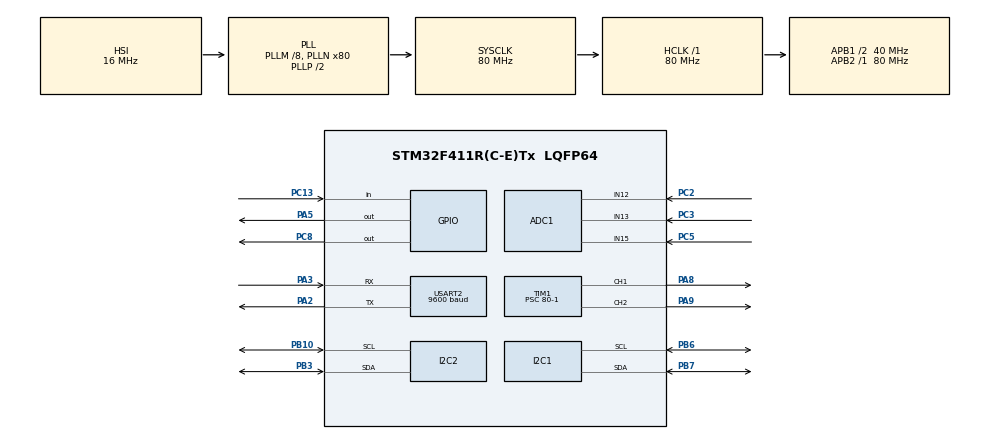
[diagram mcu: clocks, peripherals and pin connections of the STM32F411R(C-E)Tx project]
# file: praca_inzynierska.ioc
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ADC1.Channel-1\#ChannelRegularConversion=ADC_CHANNEL_15
ADC1.Channel-8\#ChannelRegularConversion=ADC_CHANNEL_12
ADC1.Channel-9\#ChannelRegularConversion=ADC_CHANNEL_13
ADC1.ClockPrescaler=ADC_CLOCK_SYNC_PCLK_DIV8
ADC1.ContinuousConvMode=ENABLE
ADC1.DMAContinuousRequests=ENABLE
ADC1.EOCSelection=ADC_EOC_SINGLE_CONV
ADC1.NbrOfConversion=3
ADC1.NbrOfConversionFlag=1
ADC1.Rank-1\#ChannelRegularConversion=1
ADC1.Rank-8\#ChannelRegularConversion=2
ADC1.Rank-9\#ChannelRegularConversion=3
ADC1.SamplingTime-1\#ChannelRegularConversion=ADC_SAMPLETIME_84CYCLES
ADC1.SamplingTime-8\#ChannelRegularConversion=ADC_SAMPLETIME_84CYCLES
ADC1.SamplingTime-9\#ChannelRegularConversion=ADC_SAMPLETIME_84CYCLES
ADC1.ScanConvMode=ENABLE
ADC1.master=1
Dma.ADC1.0.Direction=DMA_PERIPH_TO_MEMORY
Dma.ADC1.0.FIFOMode=DMA_FIFOMODE_DISABLE
Dma.ADC1.0.Instance=DMA2_Stream0
Dma.ADC1.0.MemDataAlignment=DMA_MDATAALIGN_WORD
Dma.ADC1.0.MemInc=DMA_MINC_ENABLE
Dma.ADC1.0.Mode=DMA_CIRCULAR
Dma.ADC1.0.PeriphDataAlignment=DMA_PDATAALIGN_WORD
Dma.ADC1.0.PeriphInc=DMA_PINC_DISABLE
Dma.ADC1.0.Priority=DMA_PRIORITY_LOW
Dma.Request0=ADC1
Dma.Request1=USART2_RX
Dma.Request2=USART2_TX
Dma.USART2_RX.1.Direction=DMA_PERIPH_TO_MEMORY
Dma.USART2_RX.1.FIFOMode=DMA_FIFOMODE_DISABLE
Dma.USART2_RX.1.Instance=DMA1_Stream5
Dma.USART2_RX.1.MemDataAlignment=DMA_MDATAALIGN_BYTE
Dma.USART2_RX.1.MemInc=DMA_MINC_ENABLE
Dma.USART2_RX.1.Mode=DMA_CIRCULAR
Dma.USART2_RX.1.PeriphDataAlignment=DMA_PDATAALIGN_BYTE
Dma.USART2_RX.1.PeriphInc=DMA_PINC_DISABLE
Dma.USART2_RX.1.Priority=DMA_PRIORITY_LOW
Dma.USART2_TX.2.Direction=DMA_MEMORY_TO_PERIPH
Dma.USART2_TX.2.FIFOMode=DMA_FIFOMODE_DISABLE
Dma.USART2_TX.2.Instance=DMA1_Stream6
Dma.USART2_TX.2.MemDataAlignment=DMA_MDATAALIGN_BYTE
Dma.USART2_TX.2.MemInc=DMA_MINC_ENABLE
Dma.USART2_TX.2.Mode=DMA_CIRCULAR
Dma.USART2_TX.2.PeriphDataAlignment=DMA_PDATAALIGN_BYTE
Dma.USART2_TX.2.PeriphInc=DMA_PINC_DISABLE
Dma.USART2_TX.2.Priority=DMA_PRIORITY_LOW
I2C1.I2C_Mode=I2C_Fast
I2C2.I2C_Mode=I2C_Fast
Mcu.Family=STM32F4
Mcu.Name=STM32F411R(C-E)Tx
Mcu.Package=LQFP64
NVIC.DMA1_Stream5_IRQn=true\:0\:0\:false\:false\:true\:false\:true\:true
NVIC.DMA1_Stream6_IRQn=true\:0\:0\:false\:false\:true\:false\:true\:true
NVIC.DMA2_Stream0_IRQn=true\:0\:0\:false\:false\:true\:false\:true\:true
NVIC.PriorityGroup=NVIC_PRIORITYGROUP_4
NVIC.TIM1_BRK_TIM9_IRQn=true\:0\:0\:false\:false\:true\:true\:true\:true
NVIC.TIM2_IRQn=true\:0\:0\:false\:false\:true\:true\:true\:true
NVIC.TIM3_IRQn=true\:0\:0\:false\:false\:true\:true\:true\:true
NVIC.USART2_IRQn=true\:0\:0\:false\:false\:true\:true\:true\:true
PA15.Signal=USART1_TX
PA2.Mode=Asynchronous
PA2.Signal=USART2_TX
PA3.Mode=Asynchronous
PA3.Signal=USART2_RX
PA5.Signal=GPIO_Output
PA8.Signal=S_TIM1_CH1
PA9.Signal=S_TIM1_CH2
PB10.Mode=I2C
PB10.Signal=I2C2_SCL
PB3.Mode=I2C
PB3.Signal=I2C2_SDA
PB6.Mode=I2C
PB6.Signal=I2C1_SCL
PB7.Mode=I2C
PB7.Signal=I2C1_SDA
PC13-ANTI_TAMP.Signal=GPIO_Input
PC2.Signal=ADCx_IN12
PC3.Signal=ADCx_IN13
PC5.Signal=ADCx_IN15
PC8.Signal=GPIO_Output
ProjectManager.HeapSize=0x200
ProjectManager.StackSize=0x400
ProjectManager.TargetToolchain=STM32CubeIDE
RCC.48MHZClocksFreq_Value=40000000
RCC.AHBFreq_Value=80000000
RCC.APB1CLKDivider=RCC_HCLK_DIV2
RCC.APB1Freq_Value=40000000
RCC.APB1TimFreq_Value=80000000
RCC.APB2Freq_Value=80000000
RCC.APB2TimFreq_Value=80000000
RCC.CortexFreq_Value=80000000
RCC.HCLKFreq_Value=80000000
RCC.HSE_VALUE=25000000
RCC.HSI_VALUE=16000000
RCC.LSE_VALUE=32768
RCC.PLLM=8
RCC.PLLN=80
RCC.SYSCLKFreq_VALUE=80000000
RCC.SYSCLKSource=RCC_SYSCLKSOURCE_PLLCLK
RCC.VCOOutputFreq_Value=160000000
SH.ADCx_IN12.0=ADC1_IN12,IN12
SH.ADCx_IN13.0=ADC1_IN13,IN13
SH.ADCx_IN15.0=ADC1_IN15,IN15
SH.S_TIM1_CH1.0=TIM1_CH1,PWM Generation1 CH1
SH.S_TIM1_CH2.0=TIM1_CH2,PWM Generation2 CH2
TIM1.Channel-PWM\ Generation1\ CH1=TIM_CHANNEL_1
TIM1.Channel-PWM\ Generation2\ CH2=TIM_CHANNEL_2
TIM1.Period=20000-1
TIM1.Prescaler=80-1
TIM1.Pulse-PWM\ Generation1\ CH1=1520
TIM2.Period=5000-1
TIM2.Prescaler=8000-1
TIM3.Period=(1000*60)-1
TIM3.Prescaler=40000-1
USART2.BaudRate=9600
USART2.VirtualMode=VM_ASYNC
VP_TIM2_VS_ClockSourceINT.Mode=Internal
VP_TIM3_VS_ClockSourceINT.Mode=Internal
board=custom

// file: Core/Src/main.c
/* USER CODE BEGIN Header */
/**
  ******************************************************************************
  * @file           : main.c
  * @brief          : Main program body
  ******************************************************************************
  * @attention
  *
  * Copyright (c) 2022 STMicroelectronics.
  * All rights reserved.
  *
  * This software is licensed under terms that can be found in the LICENSE file
  * in the root directory of this software component.
  * If no LICENSE file comes with this software, it is provided AS-IS.
  *
  ******************************************************************************
  */
/* USER CODE END Header */
#include "main.h"

/* USER CODE BEGIN Includes */
#include "string.h"
#include <stdio.h>
#include "bh1750_driver.h"
#include "ina219_driver.h"
#include "stdlib.h"
/* USER CODE END Includes */

 ADC_HandleTypeDef hadc1;
DMA_HandleTypeDef hdma_adc1;

I2C_HandleTypeDef hi2c1;
I2C_HandleTypeDef hi2c2;

TIM_HandleTypeDef htim1;
TIM_HandleTypeDef htim2;
TIM_HandleTypeDef htim3;

UART_HandleTypeDef huart2;
DMA_HandleTypeDef hdma_usart2_rx;
DMA_HandleTypeDef hdma_usart2_tx;

void SystemClock_Config(void);
static void MX_GPIO_Init(void);
static void MX_DMA_Init(void);
static void MX_USART2_UART_Init(void);
static void MX_ADC1_Init(void);
static void MX_I2C1_Init(void);
static void MX_TIM1_Init(void);
static void MX_I2C2_Init(void);
static void MX_TIM2_Init(void);
static void MX_TIM3_Init(void);

/* USER CODE BEGIN 0 */
uint8_t servo_ctrl[2];
uint32_t ADCbuff[3];
volatile int rotate_right = 0;
volatile int rotate_left = 0;
volatile int is_rotating = 0;

//servo 1 speed control
void change_speed_1(int value)
{
    htim1.Instance->CCR1=value;
}

//servo 2 speed control
void change_speed_2(int value)
{
    htim1.Instance->CCR2=value;
}

void measure_and_send()
{
    uint32_t illuminance = BH1750_GetIlluminance();
    double current = (double)INA219_ReadCurrent() * 0.04;
    double voltage = 3.08* 3.30/4096.00 *(double)ADCbuff[0];

    char value_1[5];
    char value_2[6];
    char value_3[8];
    char data_frame[17];

    snprintf(value_1, sizeof(value_1), "%.2f", (double)voltage);
    snprintf(value_2, sizeof(value_2), "%.3f", (double)current);
    snprintf(value_3, sizeof(value_3), "%.1f", (double)illuminance);
    snprintf(data_frame, sizeof(data_frame),"%s%s%s", value_1, value_2, value_3);

    printf("%s\n", data_frame);

}
void HAL_TIM_PeriodElapsedCallback(TIM_HandleTypeDef* htim)
{
    if(htim->Instance==TIM2)
    {
        if(is_rotating==1)
        {
            change_speed_1(1520);
            HAL_TIM_PWM_Stop(&htim1, TIM_CHANNEL_1);
            rotate_right=0;
            rotate_left=0;
            is_rotating=0;
        }
        if(rotate_left==1)
        {
            HAL_TIM_PWM_Start(&htim1, TIM_CHANNEL_1);
            change_speed_1(1540);
        	is_rotating=1;
        }
        else if(rotate_right==1)
        {
            HAL_TIM_PWM_Start(&htim1, TIM_CHANNEL_1);
            change_speed_1(1500);
        	is_rotating=1;
        }
        measure_and_send();

    }
    if(htim->Instance==TIM3)
    {
        int diff = ADCbuff[2] - ADCbuff[1];
        if(abs(diff) > 30)
        {
            if(diff < 0)
            {
                rotate_right=1;
            }
            else
            {
                rotate_left=1;
            }
        }
        else
        {
            rotate_left=0;
            rotate_right=0;
        }

    }
}

//redefinition of write fcn
int _write(int file, char *ptr, int len)
{
    HAL_UART_Transmit(&huart2, (uint8_t*) ptr, len, 50);
    return len;
}

/* USER CODE END 0 */

int main(void)
{

  /* MCU Configuration--------------------------------------------------------*/

  /* Reset of all peripherals, Initializes the Flash interface and the Systick. */
  HAL_Init();

  /* Configure the system clock */
  SystemClock_Config();

  /* USER CODE BEGIN SysInit */
    MX_DMA_Init();

  /* USER CODE END SysInit */

  /* Initialize all configured peripherals */
  MX_GPIO_Init();
  MX_DMA_Init();
  MX_USART2_UART_Init();
  MX_ADC1_Init();
  MX_I2C1_Init();
  MX_TIM1_Init();
  MX_I2C2_Init();
  MX_TIM2_Init();
  MX_TIM3_Init();
  /* USER CODE BEGIN 2 */
   __HAL_RCC_I2C1_CLK_ENABLE();
   __I2C1_CLK_ENABLE();
   __HAL_RCC_I2C2_CLK_ENABLE();
   __I2C2_CLK_ENABLE();
   HAL_TIM_Base_Start_IT(&htim2);
   HAL_TIM_Base_Start_IT(&htim3);
   HAL_TIM_PWM_Start(&htim1, TIM_CHANNEL_1);
   HAL_TIM_PWM_Start(&htim1, TIM_CHANNEL_2);
   __HAL_UART_ENABLE_IT(&huart2, UART_IT_RXNE);
   __HAL_RCC_ADC1_CLK_ENABLE();
   __HAL_RCC_USART2_CLK_ENABLE();
   HAL_UART_Receive_DMA(&huart2, servo_ctrl, 2);
   HAL_ADC_Start_DMA(&hadc1, ADCbuff, 3);

   BH1750_PowerOn();
   HAL_Delay(200);
   BH1750_SetContinuousMode();
   INA219_Reset();
   HAL_Delay(200);
   INA219_Calibrate();
  /* USER CODE END 2 */

  /* Infinite loop */
  /* USER CODE BEGIN WHILE */
    while (1)
    {
    	if(is_rotating==0 && rotate_left==0 && rotate_right==0)
    	{
        if (servo_ctrl[0]==0)
        {
            change_speed_1(1520);
        }
        else if (servo_ctrl[0]==1)
        {
        	change_speed_1(1540);
            HAL_TIM_PWM_Start(&htim1, TIM_CHANNEL_1);
        }
        else if (servo_ctrl[0]==2)
        {
            change_speed_1(1500);
            HAL_TIM_PWM_Start(&htim1, TIM_CHANNEL_1);
        }

        if (servo_ctrl[1]==0)
        {
            change_speed_2(1535);
            HAL_TIM_PWM_Stop(&htim1, TIM_CHANNEL_2);
        }
        else if (servo_ctrl[1]==1)
        {
            HAL_TIM_PWM_Start(&htim1, TIM_CHANNEL_2);
            change_speed_2(1500);
        }

        else if (servo_ctrl[1]==2)
        {
            HAL_TIM_PWM_Start(&htim1, TIM_CHANNEL_2);
            change_speed_2(1560);
        }

    }
    }
    /* USER CODE END WHILE */

}

void SystemClock_Config(void)
{
  RCC_OscInitTypeDef RCC_OscInitStruct = {0};
  RCC_ClkInitTypeDef RCC_ClkInitStruct = {0};

  /** Configure the main internal regulator output voltage
  */
  __HAL_RCC_PWR_CLK_ENABLE();
  __HAL_PWR_VOLTAGESCALING_CONFIG(PWR_REGULATOR_VOLTAGE_SCALE1);

  /** Initializes the RCC Oscillators according to the specified parameters
  * in the RCC_OscInitTypeDef structure.
  */
  RCC_OscInitStruct.OscillatorType = RCC_OSCILLATORTYPE_HSI;
  RCC_OscInitStruct.HSIState = RCC_HSI_ON;
  RCC_OscInitStruct.HSICalibrationValue = RCC_HSICALIBRATION_DEFAULT;
  RCC_OscInitStruct.PLL.PLLState = RCC_PLL_ON;
  RCC_OscInitStruct.PLL.PLLSource = RCC_PLLSOURCE_HSI;
  RCC_OscInitStruct.PLL.PLLM = 8;
  RCC_OscInitStruct.PLL.PLLN = 80;
  RCC_OscInitStruct.PLL.PLLP = RCC_PLLP_DIV2;
  RCC_OscInitStruct.PLL.PLLQ = 4;
  if (HAL_RCC_OscConfig(&RCC_OscInitStruct) != HAL_OK)
  {
    Error_Handler();
  }

  /** Initializes the CPU, AHB and APB buses clocks
  */
  RCC_ClkInitStruct.ClockType = RCC_CLOCKTYPE_HCLK|RCC_CLOCKTYPE_SYSCLK
                              |RCC_CLOCKTYPE_PCLK1|RCC_CLOCKTYPE_PCLK2;
  RCC_ClkInitStruct.SYSCLKSource = RCC_SYSCLKSOURCE_PLLCLK;
  RCC_ClkInitStruct.AHBCLKDivider = RCC_SYSCLK_DIV1;
  RCC_ClkInitStruct.APB1CLKDivider = RCC_HCLK_DIV2;
  RCC_ClkInitStruct.APB2CLKDivider = RCC_HCLK_DIV1;

  if (HAL_RCC_ClockConfig(&RCC_ClkInitStruct, FLASH_LATENCY_2) != HAL_OK)
  {
    Error_Handler();
  }
}

static void MX_ADC1_Init(void)
{

  ADC_ChannelConfTypeDef sConfig = {0};

  /** Configure the global features of the ADC (Clock, Resolution, Data Alignment and number of conversion)
  */
  hadc1.Instance = ADC1;
  hadc1.Init.ClockPrescaler = ADC_CLOCK_SYNC_PCLK_DIV8;
  hadc1.Init.Resolution = ADC_RESOLUTION_12B;
  hadc1.Init.ScanConvMode = ENABLE;
  hadc1.Init.ContinuousConvMode = ENABLE;
  hadc1.Init.DiscontinuousConvMode = DISABLE;
  hadc1.Init.ExternalTrigConvEdge = ADC_EXTERNALTRIGCONVEDGE_NONE;
  hadc1.Init.ExternalTrigConv = ADC_SOFTWARE_START;
  hadc1.Init.DataAlign = ADC_DATAALIGN_RIGHT;
  hadc1.Init.NbrOfConversion = 3;
  hadc1.Init.DMAContinuousRequests = ENABLE;
  hadc1.Init.EOCSelection = ADC_EOC_SINGLE_CONV;
  if (HAL_ADC_Init(&hadc1) != HAL_OK)
  {
    Error_Handler();
  }

  /** Configure for the selected ADC regular channel its corresponding rank in the sequencer and its sample time.
  */
  sConfig.Channel = ADC_CHANNEL_15;
  sConfig.Rank = 1;
  sConfig.SamplingTime = ADC_SAMPLETIME_84CYCLES;
  if (HAL_ADC_ConfigChannel(&hadc1, &sConfig) != HAL_OK)
  {
    Error_Handler();
  }

  /** Configure for the selected ADC regular channel its corresponding rank in the sequencer and its sample time.
  */
  sConfig.Channel = ADC_CHANNEL_12;
  sConfig.Rank = 2;
  if (HAL_ADC_ConfigChannel(&hadc1, &sConfig) != HAL_OK)
  {
    Error_Handler();
  }

  /** Configure for the selected ADC regular channel its corresponding rank in the sequencer and its sample time.
  */
  sConfig.Channel = ADC_CHANNEL_13;
  sConfig.Rank = 3;
  if (HAL_ADC_ConfigChannel(&hadc1, &sConfig) != HAL_OK)
  {
    Error_Handler();
  }

}

static void MX_I2C1_Init(void)
{

  hi2c1.Instance = I2C1;
  hi2c1.Init.ClockSpeed = 400000;
  hi2c1.Init.DutyCycle = I2C_DUTYCYCLE_2;
  hi2c1.Init.OwnAddress1 = 0;
  hi2c1.Init.AddressingMode = I2C_ADDRESSINGMODE_7BIT;
  hi2c1.Init.DualAddressMode = I2C_DUALADDRESS_DISABLE;
  hi2c1.Init.OwnAddress2 = 0;
  hi2c1.Init.GeneralCallMode = I2C_GENERALCALL_DISABLE;
  hi2c1.Init.NoStretchMode = I2C_NOSTRETCH_DISABLE;
  if (HAL_I2C_Init(&hi2c1) != HAL_OK)
  {
    Error_Handler();
  }

}

static void MX_I2C2_Init(void)
{

  hi2c2.Instance = I2C2;
  hi2c2.Init.ClockSpeed = 400000;
  hi2c2.Init.DutyCycle = I2C_DUTYCYCLE_2;
  hi2c2.Init.OwnAddress1 = 0;
  hi2c2.Init.AddressingMode = I2C_ADDRESSINGMODE_7BIT;
  hi2c2.Init.DualAddressMode = I2C_DUALADDRESS_DISABLE;
  hi2c2.Init.OwnAddress2 = 0;
  hi2c2.Init.GeneralCallMode = I2C_GENERALCALL_DISABLE;
  hi2c2.Init.NoStretchMode = I2C_NOSTRETCH_DISABLE;
  if (HAL_I2C_Init(&hi2c2) != HAL_OK)
  {
    Error_Handler();
  }

}

static void MX_TIM1_Init(void)
{

  TIM_MasterConfigTypeDef sMasterConfig = {0};
  TIM_OC_InitTypeDef sConfigOC = {0};
  TIM_BreakDeadTimeConfigTypeDef sBreakDeadTimeConfig = {0};

  htim1.Instance = TIM1;
  htim1.Init.Prescaler = 80-1;
  htim1.Init.CounterMode = TIM_COUNTERMODE_UP;
  htim1.Init.Period = 20000-1;
  htim1.Init.ClockDivision = TIM_CLOCKDIVISION_DIV1;
  htim1.Init.RepetitionCounter = 0;
  htim1.Init.AutoReloadPreload = TIM_AUTORELOAD_PRELOAD_DISABLE;
  if (HAL_TIM_PWM_Init(&htim1) != HAL_OK)
  {
    Error_Handler();
  }
  sMasterConfig.MasterOutputTrigger = TIM_TRGO_RESET;
  sMasterConfig.MasterSlaveMode = TIM_MASTERSLAVEMODE_DISABLE;
  if (HAL_TIMEx_MasterConfigSynchronization(&htim1, &sMasterConfig) != HAL_OK)
  {
    Error_Handler();
  }
  sConfigOC.OCMode = TIM_OCMODE_PWM1;
  sConfigOC.Pulse = 1520;
  sConfigOC.OCPolarity = TIM_OCPOLARITY_HIGH;
  sConfigOC.OCNPolarity = TIM_OCNPOLARITY_HIGH;
  sConfigOC.OCFastMode = TIM_OCFAST_DISABLE;
  sConfigOC.OCIdleState = TIM_OCIDLESTATE_RESET;
  sConfigOC.OCNIdleState = TIM_OCNIDLESTATE_RESET;
  if (HAL_TIM_PWM_ConfigChannel(&htim1, &sConfigOC, TIM_CHANNEL_1) != HAL_OK)
  {
    Error_Handler();
  }
  sConfigOC.Pulse = 0;
  if (HAL_TIM_PWM_ConfigChannel(&htim1, &sConfigOC, TIM_CHANNEL_2) != HAL_OK)
  {
    Error_Handler();
  }
  sBreakDeadTimeConfig.OffStateRunMode = TIM_OSSR_DISABLE;
  sBreakDeadTimeConfig.OffStateIDLEMode = TIM_OSSI_DISABLE;
  sBreakDeadTimeConfig.LockLevel = TIM_LOCKLEVEL_OFF;
  sBreakDeadTimeConfig.DeadTime = 0;
  sBreakDeadTimeConfig.BreakState = TIM_BREAK_DISABLE;
  sBreakDeadTimeConfig.BreakPolarity = TIM_BREAKPOLARITY_HIGH;
  sBreakDeadTimeConfig.AutomaticOutput = TIM_AUTOMATICOUTPUT_DISABLE;
  if (HAL_TIMEx_ConfigBreakDeadTime(&htim1, &sBreakDeadTimeConfig) != HAL_OK)
  {
    Error_Handler();
  }
  HAL_TIM_MspPostInit(&htim1);

}

static void MX_TIM2_Init(void)
{

  TIM_ClockConfigTypeDef sClockSourceConfig = {0};
  TIM_MasterConfigTypeDef sMasterConfig = {0};

  htim2.Instance = TIM2;
  htim2.Init.Prescaler = 8000-1;
  htim2.Init.CounterMode = TIM_COUNTERMODE_UP;
  htim2.Init.Period = 5000-1;
  htim2.Init.ClockDivision = TIM_CLOCKDIVISION_DIV1;
  htim2.Init.AutoReloadPreload = TIM_AUTORELOAD_PRELOAD_DISABLE;
  if (HAL_TIM_Base_Init(&htim2) != HAL_OK)
  {
    Error_Handler();
  }
  sClockSourceConfig.ClockSource = TIM_CLOCKSOURCE_INTERNAL;
  if (HAL_TIM_ConfigClockSource(&htim2, &sClockSourceConfig) != HAL_OK)
  {
    Error_Handler();
  }
  sMasterConfig.MasterOutputTrigger = TIM_TRGO_RESET;
  sMasterConfig.MasterSlaveMode = TIM_MASTERSLAVEMODE_DISABLE;
  if (HAL_TIMEx_MasterConfigSynchronization(&htim2, &sMasterConfig) != HAL_OK)
  {
    Error_Handler();
  }

}

static void MX_TIM3_Init(void)
{

  TIM_ClockConfigTypeDef sClockSourceConfig = {0};
  TIM_MasterConfigTypeDef sMasterConfig = {0};

  htim3.Instance = TIM3;
  htim3.Init.Prescaler = 40000-1;
  htim3.Init.CounterMode = TIM_COUNTERMODE_UP;
  htim3.Init.Period = (1000*60)-1;
  htim3.Init.ClockDivision = TIM_CLOCKDIVISION_DIV1;
  htim3.Init.AutoReloadPreload = TIM_AUTORELOAD_PRELOAD_DISABLE;
  if (HAL_TIM_Base_Init(&htim3) != HAL_OK)
  {
    Error_Handler();
  }
  sClockSourceConfig.ClockSource = TIM_CLOCKSOURCE_INTERNAL;
  if (HAL_TIM_ConfigClockSource(&htim3, &sClockSourceConfig) != HAL_OK)
  {
    Error_Handler();
  }
  sMasterConfig.MasterOutputTrigger = TIM_TRGO_RESET;
  sMasterConfig.MasterSlaveMode = TIM_MASTERSLAVEMODE_DISABLE;
  if (HAL_TIMEx_MasterConfigSynchronization(&htim3, &sMasterConfig) != HAL_OK)
  {
    Error_Handler();
  }

}

static void MX_USART2_UART_Init(void)
{

  huart2.Instance = USART2;
  huart2.Init.BaudRate = 9600;
  huart2.Init.WordLength = UART_WORDLENGTH_8B;
  huart2.Init.StopBits = UART_STOPBITS_1;
  huart2.Init.Parity = UART_PARITY_NONE;
  huart2.Init.Mode = UART_MODE_TX_RX;
  huart2.Init.HwFlowCtl = UART_HWCONTROL_NONE;
  huart2.Init.OverSampling = UART_OVERSAMPLING_16;
  if (HAL_UART_Init(&huart2) != HAL_OK)
  {
    Error_Handler();
  }

}

static void MX_DMA_Init(void)
{

  /* DMA controller clock enable */
  __HAL_RCC_DMA2_CLK_ENABLE();
  __HAL_RCC_DMA1_CLK_ENABLE();

  /* DMA interrupt init */
  /* DMA1_Stream5_IRQn interrupt configuration */
  HAL_NVIC_SetPriority(DMA1_Stream5_IRQn, 0, 0);
  HAL_NVIC_EnableIRQ(DMA1_Stream5_IRQn);
  /* DMA1_Stream6_IRQn interrupt configuration */
  HAL_NVIC_SetPriority(DMA1_Stream6_IRQn, 0, 0);
  HAL_NVIC_EnableIRQ(DMA1_Stream6_IRQn);
  /* DMA2_Stream0_IRQn interrupt configuration */
  HAL_NVIC_SetPriority(DMA2_Stream0_IRQn, 0, 0);
  HAL_NVIC_EnableIRQ(DMA2_Stream0_IRQn);

}

static void MX_GPIO_Init(void)
{
  GPIO_InitTypeDef GPIO_InitStruct = {0};

  /* GPIO Ports Clock Enable */
  __HAL_RCC_GPIOC_CLK_ENABLE();
  __HAL_RCC_GPIOA_CLK_ENABLE();
  __HAL_RCC_GPIOB_CLK_ENABLE();

  /*Configure GPIO pin Output Level */
  HAL_GPIO_WritePin(GPIOA, GPIO_PIN_5, GPIO_PIN_RESET);

  /*Configure GPIO pin Output Level */
  HAL_GPIO_WritePin(GPIOC, GPIO_PIN_8, GPIO_PIN_RESET);

  /*Configure GPIO pin : PC13 */
  GPIO_InitStruct.Pin = GPIO_PIN_13;
  GPIO_InitStruct.Mode = GPIO_MODE_INPUT;
  GPIO_InitStruct.Pull = GPIO_NOPULL;
  HAL_GPIO_Init(GPIOC, &GPIO_InitStruct);

  /*Configure GPIO pin : PA5 */
  GPIO_InitStruct.Pin = GPIO_PIN_5;
  GPIO_InitStruct.Mode = GPIO_MODE_OUTPUT_PP;
  GPIO_InitStruct.Pull = GPIO_NOPULL;
  GPIO_InitStruct.Speed = GPIO_SPEED_FREQ_LOW;
  HAL_GPIO_Init(GPIOA, &GPIO_InitStruct);

  /*Configure GPIO pin : PC8 */
  GPIO_InitStruct.Pin = GPIO_PIN_8;
  GPIO_InitStruct.Mode = GPIO_MODE_OUTPUT_PP;
  GPIO_InitStruct.Pull = GPIO_NOPULL;
  GPIO_InitStruct.Speed = GPIO_SPEED_FREQ_LOW;
  HAL_GPIO_Init(GPIOC, &GPIO_InitStruct);

  /*Configure GPIO pin : PA15 */
  GPIO_InitStruct.Pin = GPIO_PIN_15;
  GPIO_InitStruct.Mode = GPIO_MODE_AF_PP;
  GPIO_InitStruct.Pull = GPIO_NOPULL;
  GPIO_InitStruct.Speed = GPIO_SPEED_FREQ_VERY_HIGH;
  GPIO_InitStruct.Alternate = GPIO_AF7_USART1;
  HAL_GPIO_Init(GPIOA, &GPIO_InitStruct);

}

void Error_Handler(void)
{
    __disable_irq();
    while (1)
    {
    }
}
